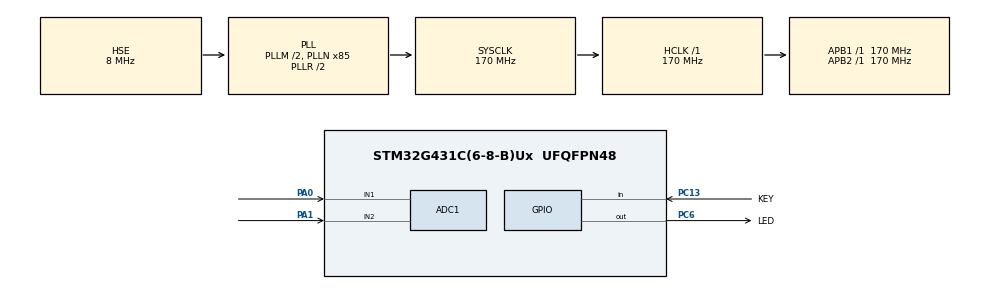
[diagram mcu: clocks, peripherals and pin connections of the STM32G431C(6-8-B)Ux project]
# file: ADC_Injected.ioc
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ADC1.Channel-0\#ChannelRegularConversion=ADC_CHANNEL_1
ADC1.Channel-1\#ChannelRegularConversion=ADC_CHANNEL_2
ADC1.ClockPrescaler=ADC_CLOCK_ASYNC_DIV32
ADC1.ContinuousConvMode=DISABLE
ADC1.DiscontinuousConvMode=ENABLE
ADC1.EOCSelection=ADC_EOC_SINGLE_CONV
ADC1.EnableInjectedConversion=ENABLE
ADC1.InjNumberOfConversion=2
ADC1.InjectedChannel-2\#ChannelInjectedConversion=ADC_CHANNEL_TEMPSENSOR_ADC1
ADC1.InjectedChannel-3\#ChannelInjectedConversion=ADC_CHANNEL_VBAT
ADC1.InjectedOffsetNumber-2\#ChannelInjectedConversion=ADC_OFFSET_NONE
ADC1.InjectedOffsetNumber-3\#ChannelInjectedConversion=ADC_OFFSET_NONE
ADC1.InjectedRank-2\#ChannelInjectedConversion=1
ADC1.InjectedRank-3\#ChannelInjectedConversion=2
ADC1.InjectedSamplingTime-2\#ChannelInjectedConversion=ADC_SAMPLETIME_47CYCLES_5
ADC1.InjectedSamplingTime-3\#ChannelInjectedConversion=ADC_SAMPLETIME_47CYCLES_5
ADC1.NbrOfConversion=2
ADC1.NbrOfConversionFlag=1
ADC1.NbrOfDiscConversion=2
ADC1.OffsetNumber-0\#ChannelRegularConversion=ADC_OFFSET_NONE
ADC1.OffsetNumber-1\#ChannelRegularConversion=ADC_OFFSET_NONE
ADC1.Rank-0\#ChannelRegularConversion=1
ADC1.Rank-1\#ChannelRegularConversion=2
ADC1.SamplingTime-0\#ChannelRegularConversion=ADC_SAMPLETIME_12CYCLES_5
ADC1.SamplingTime-1\#ChannelRegularConversion=ADC_SAMPLETIME_12CYCLES_5
ADC1.master=1
Mcu.Family=STM32G4
Mcu.Name=STM32G431C(6-8-B)Ux
Mcu.Package=UFQFPN48
NVIC.ADC1_2_IRQn=true\:0\:0\:false\:false\:true\:true\:true\:true
NVIC.PriorityGroup=NVIC_PRIORITYGROUP_4
PA0.Mode=IN1-Single-Ended
PA0.Signal=ADC1_IN1
PA1.Mode=IN2-Single-Ended
PA1.Signal=ADC1_IN2
PA13.Mode=Serial_Wire
PA13.Signal=SYS_JTMS-SWDIO
PA14.Mode=Serial_Wire
PA14.Signal=SYS_JTCK-SWCLK
PC13.GPIO_Label=KEY
PC13.GPIO_PuPd=GPIO_PULLDOWN
PC13.Signal=GPIO_Input
PC6.GPIO_Label=LED
PC6.GPIO_ModeDefaultOutputPP=GPIO_MODE_OUTPUT_PP
PC6.GPIO_Speed=GPIO_SPEED_FREQ_LOW
PC6.PinState=GPIO_PIN_RESET
PC6.Signal=GPIO_Output
PF0-OSC_IN.Mode=HSE-External-Oscillator
PF0-OSC_IN.Signal=RCC_OSC_IN
PF1-OSC_OUT.Mode=HSE-External-Oscillator
PF1-OSC_OUT.Signal=RCC_OSC_OUT
ProjectManager.HeapSize=0x200
ProjectManager.StackSize=0x400
ProjectManager.TargetToolchain=STM32CubeIDE
RCC.ADC12Freq_Value=170000000
RCC.AHBFreq_Value=170000000
RCC.APB1Freq_Value=170000000
RCC.APB1TimFreq_Value=170000000
RCC.APB2Freq_Value=170000000
RCC.APB2TimFreq_Value=170000000
RCC.CortexFreq_Value=170000000
RCC.EXTERNAL_CLOCK_VALUE=12288000
RCC.HCLKFreq_Value=170000000
RCC.HSE_VALUE=8000000
RCC.HSI48_VALUE=48000000
RCC.HSI_VALUE=16000000
RCC.LSE_VALUE=32768
RCC.PLLM=RCC_PLLM_DIV2
RCC.PLLN=85
RCC.PLLSourceVirtual=RCC_PLLSOURCE_HSE
RCC.SYSCLKFreq_VALUE=170000000
RCC.SYSCLKSource=RCC_SYSCLKSOURCE_PLLCLK
RCC.USBFreq_Value=170000000
RCC.VCOOutputFreq_Value=340000000
VP_ADC1_TempSens_Input.Mode=IN-TempSens
VP_ADC1_Vbat_Input.Mode=IN-Vbat
VP_SYS_VS_DBSignals.Mode=DisableDeadBatterySignals
VP_SYS_V_VREFBUF.Mode=ExternalMode
board=custom

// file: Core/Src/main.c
/* USER CODE BEGIN Header */
/**
  ******************************************************************************
  * @file           : main.c
  * @brief          : Main program body
  ******************************************************************************
  * @attention
  *
  * Copyright (c) 2025 STMicroelectronics.
  * All rights reserved.
  *
  * This software is licensed under terms that can be found in the LICENSE file
  * in the root directory of this software component.
  * If no LICENSE file comes with this software, it is provided AS-IS.
  *
  ******************************************************************************
  */
/* USER CODE END Header */
#include "main.h"

/* USER CODE BEGIN PD */

#define VREFANALOG_VALUE  3300

/* USER CODE END PD */

ADC_HandleTypeDef hadc1;

/* USER CODE BEGIN PV */

uint32_t ADC_Value[2];
int32_t Temperature;
uint32_t Vbat;
uint32_t my_counter;

/* USER CODE END PV */

void SystemClock_Config(void);
static void MX_GPIO_Init(void);
static void MX_ADC1_Init(void);

/* USER CODE BEGIN 0 */

void HAL_ADCEx_InjectedConvCpltCallback(ADC_HandleTypeDef *hadc) {
	uint32_t ADC_Temp;
	uint32_t ADC_Vbat;

	ADC_Temp = HAL_ADCEx_InjectedGetValue(&hadc1, ADC_INJECTED_RANK_1);
	ADC_Vbat = HAL_ADCEx_InjectedGetValue(&hadc1, ADC_INJECTED_RANK_2);

	Temperature = __HAL_ADC_CALC_TEMPERATURE(
	        VREFANALOG_VALUE, // Reference voltage in mV (e.g., 3300 for 3.3V)
			ADC_Temp, // ADC Value
	        ADC_RESOLUTION_12B // Resolution
	    );

	Vbat = __HAL_ADC_CALC_DATA_TO_VOLTAGE(
			VREFANALOG_VALUE, // Reference voltage in mV (e.g., 3300 for 3.3V)
			ADC_Vbat, // ADC Value
			ADC_RESOLUTION_12B // Resolution
			) * 3;

}

/* USER CODE END 0 */

int main(void)
{

  /* USER CODE BEGIN 1 */

	my_counter = 0;

  /* USER CODE END 1 */

  /* MCU Configuration--------------------------------------------------------*/

  /* Reset of all peripherals, Initializes the Flash interface and the Systick. */
  HAL_Init();

  /* Configure the system clock */
  SystemClock_Config();

  /* Initialize all configured peripherals */
  MX_GPIO_Init();
  MX_ADC1_Init();
  /* USER CODE BEGIN 2 */

  // Enable ADC
  ADC_Enable(&hadc1);
  // ADC Calibration
  if (HAL_ADCEx_Calibration_Start(&hadc1, ADC_SINGLE_ENDED) != HAL_OK) {
	  Error_Handler();
  }

  /* USER CODE END 2 */

  /* Infinite loop */
  /* USER CODE BEGIN WHILE */
  while (1)
  {

	  HAL_ADC_Start(&hadc1);

	  HAL_ADC_PollForConversion(&hadc1, 100);
	  ADC_Value[0] = HAL_ADC_GetValue(&hadc1);

	  HAL_ADC_PollForConversion(&hadc1, 100);
	  ADC_Value[1] = HAL_ADC_GetValue(&hadc1);

	  HAL_ADC_Stop(&hadc1);

	  HAL_ADCEx_InjectedStart_IT(&hadc1);

	  my_counter++;

	  HAL_Delay(100);

    /* USER CODE END WHILE */

  }
}

void SystemClock_Config(void)
{
  RCC_OscInitTypeDef RCC_OscInitStruct = {0};
  RCC_ClkInitTypeDef RCC_ClkInitStruct = {0};

  /** Configure the main internal regulator output voltage
  */
  HAL_PWREx_ControlVoltageScaling(PWR_REGULATOR_VOLTAGE_SCALE1_BOOST);

  /** Initializes the RCC Oscillators according to the specified parameters
  * in the RCC_OscInitTypeDef structure.
  */
  RCC_OscInitStruct.OscillatorType = RCC_OSCILLATORTYPE_HSE;
  RCC_OscInitStruct.HSEState = RCC_HSE_ON;
  RCC_OscInitStruct.PLL.PLLState = RCC_PLL_ON;
  RCC_OscInitStruct.PLL.PLLSource = RCC_PLLSOURCE_HSE;
  RCC_OscInitStruct.PLL.PLLM = RCC_PLLM_DIV2;
  RCC_OscInitStruct.PLL.PLLN = 85;
  RCC_OscInitStruct.PLL.PLLP = RCC_PLLP_DIV2;
  RCC_OscInitStruct.PLL.PLLQ = RCC_PLLQ_DIV2;
  RCC_OscInitStruct.PLL.PLLR = RCC_PLLR_DIV2;
  if (HAL_RCC_OscConfig(&RCC_OscInitStruct) != HAL_OK)
  {
    Error_Handler();
  }

  /** Initializes the CPU, AHB and APB buses clocks
  */
  RCC_ClkInitStruct.ClockType = RCC_CLOCKTYPE_HCLK|RCC_CLOCKTYPE_SYSCLK
                              |RCC_CLOCKTYPE_PCLK1|RCC_CLOCKTYPE_PCLK2;
  RCC_ClkInitStruct.SYSCLKSource = RCC_SYSCLKSOURCE_PLLCLK;
  RCC_ClkInitStruct.AHBCLKDivider = RCC_SYSCLK_DIV1;
  RCC_ClkInitStruct.APB1CLKDivider = RCC_HCLK_DIV1;
  RCC_ClkInitStruct.APB2CLKDivider = RCC_HCLK_DIV1;

  if (HAL_RCC_ClockConfig(&RCC_ClkInitStruct, FLASH_LATENCY_4) != HAL_OK)
  {
    Error_Handler();
  }
}

static void MX_ADC1_Init(void)
{

  ADC_MultiModeTypeDef multimode = {0};
  ADC_ChannelConfTypeDef sConfig = {0};
  ADC_InjectionConfTypeDef sConfigInjected = {0};

  /** Common config
  */
  hadc1.Instance = ADC1;
  hadc1.Init.ClockPrescaler = ADC_CLOCK_ASYNC_DIV32;
  hadc1.Init.Resolution = ADC_RESOLUTION_12B;
  hadc1.Init.DataAlign = ADC_DATAALIGN_RIGHT;
  hadc1.Init.GainCompensation = 0;
  hadc1.Init.ScanConvMode = ADC_SCAN_ENABLE;
  hadc1.Init.EOCSelection = ADC_EOC_SINGLE_CONV;
  hadc1.Init.LowPowerAutoWait = DISABLE;
  hadc1.Init.ContinuousConvMode = DISABLE;
  hadc1.Init.NbrOfConversion = 2;
  hadc1.Init.DiscontinuousConvMode = ENABLE;
  hadc1.Init.NbrOfDiscConversion = 2;
  hadc1.Init.ExternalTrigConv = ADC_SOFTWARE_START;
  hadc1.Init.ExternalTrigConvEdge = ADC_EXTERNALTRIGCONVEDGE_NONE;
  hadc1.Init.DMAContinuousRequests = DISABLE;
  hadc1.Init.Overrun = ADC_OVR_DATA_PRESERVED;
  hadc1.Init.OversamplingMode = DISABLE;
  if (HAL_ADC_Init(&hadc1) != HAL_OK)
  {
    Error_Handler();
  }

  /** Configure the ADC multi-mode
  */
  multimode.Mode = ADC_MODE_INDEPENDENT;
  if (HAL_ADCEx_MultiModeConfigChannel(&hadc1, &multimode) != HAL_OK)
  {
    Error_Handler();
  }

  /** Configure Regular Channel
  */
  sConfig.Channel = ADC_CHANNEL_1;
  sConfig.Rank = ADC_REGULAR_RANK_1;
  sConfig.SamplingTime = ADC_SAMPLETIME_12CYCLES_5;
  sConfig.SingleDiff = ADC_SINGLE_ENDED;
  sConfig.OffsetNumber = ADC_OFFSET_NONE;
  sConfig.Offset = 0;
  if (HAL_ADC_ConfigChannel(&hadc1, &sConfig) != HAL_OK)
  {
    Error_Handler();
  }

  /** Configure Regular Channel
  */
  sConfig.Channel = ADC_CHANNEL_2;
  sConfig.Rank = ADC_REGULAR_RANK_2;
  if (HAL_ADC_ConfigChannel(&hadc1, &sConfig) != HAL_OK)
  {
    Error_Handler();
  }

  /** Configure Injected Channel
  */
  sConfigInjected.InjectedChannel = ADC_CHANNEL_TEMPSENSOR_ADC1;
  sConfigInjected.InjectedRank = ADC_INJECTED_RANK_1;
  sConfigInjected.InjectedSamplingTime = ADC_SAMPLETIME_47CYCLES_5;
  sConfigInjected.InjectedSingleDiff = ADC_SINGLE_ENDED;
  sConfigInjected.InjectedOffsetNumber = ADC_OFFSET_NONE;
  sConfigInjected.InjectedOffset = 0;
  sConfigInjected.InjectedNbrOfConversion = 2;
  sConfigInjected.InjectedDiscontinuousConvMode = DISABLE;
  sConfigInjected.AutoInjectedConv = DISABLE;
  sConfigInjected.QueueInjectedContext = DISABLE;
  sConfigInjected.ExternalTrigInjecConv = ADC_INJECTED_SOFTWARE_START;
  sConfigInjected.ExternalTrigInjecConvEdge = ADC_EXTERNALTRIGINJECCONV_EDGE_NONE;
  sConfigInjected.InjecOversamplingMode = DISABLE;
  if (HAL_ADCEx_InjectedConfigChannel(&hadc1, &sConfigInjected) != HAL_OK)
  {
    Error_Handler();
  }

  /** Configure Injected Channel
  */
  sConfigInjected.InjectedChannel = ADC_CHANNEL_VBAT;
  sConfigInjected.InjectedRank = ADC_INJECTED_RANK_2;
  if (HAL_ADCEx_InjectedConfigChannel(&hadc1, &sConfigInjected) != HAL_OK)
  {
    Error_Handler();
  }

}

static void MX_GPIO_Init(void)
{
  GPIO_InitTypeDef GPIO_InitStruct = {0};

  /* GPIO Ports Clock Enable */
  __HAL_RCC_GPIOC_CLK_ENABLE();
  __HAL_RCC_GPIOF_CLK_ENABLE();
  __HAL_RCC_GPIOA_CLK_ENABLE();

  /*Configure GPIO pin Output Level */
  HAL_GPIO_WritePin(LED_GPIO_Port, LED_Pin, GPIO_PIN_RESET);

  /*Configure GPIO pin : KEY_Pin */
  GPIO_InitStruct.Pin = KEY_Pin;
  GPIO_InitStruct.Mode = GPIO_MODE_INPUT;
  GPIO_InitStruct.Pull = GPIO_PULLDOWN;
  HAL_GPIO_Init(KEY_GPIO_Port, &GPIO_InitStruct);

  /*Configure GPIO pin : LED_Pin */
  GPIO_InitStruct.Pin = LED_Pin;
  GPIO_InitStruct.Mode = GPIO_MODE_OUTPUT_PP;
  GPIO_InitStruct.Pull = GPIO_NOPULL;
  GPIO_InitStruct.Speed = GPIO_SPEED_FREQ_LOW;
  HAL_GPIO_Init(LED_GPIO_Port, &GPIO_InitStruct);

}

void Error_Handler(void)
{
  __disable_irq();
  while (1)
  {
  }
}
